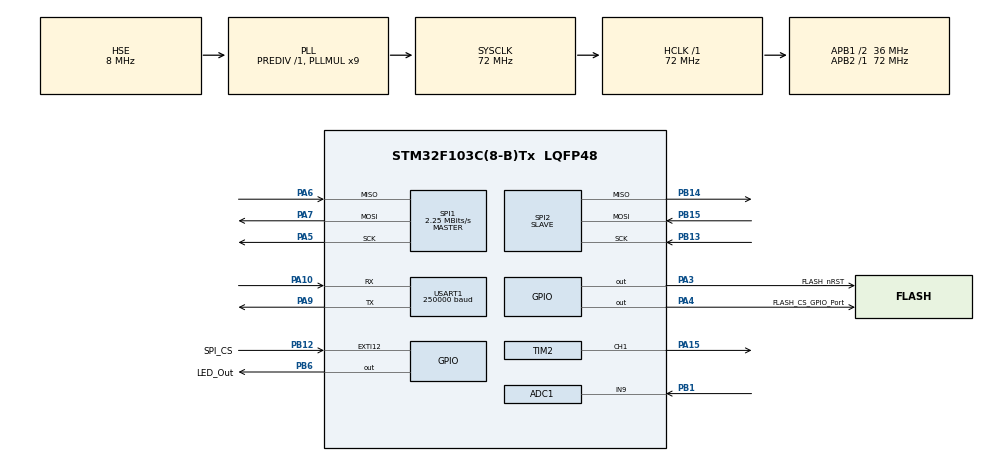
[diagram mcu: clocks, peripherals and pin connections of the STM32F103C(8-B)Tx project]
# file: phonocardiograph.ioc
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ADC1.Channel-0\#ChannelRegularConversion=ADC_CHANNEL_9
ADC1.ExternalTrigConv=ADC_EXTERNALTRIGCONV_T3_TRGO
ADC1.NbrOfConversionFlag=1
ADC1.Rank-0\#ChannelRegularConversion=1
ADC1.SamplingTime-0\#ChannelRegularConversion=ADC_SAMPLETIME_1CYCLE_5
ADC1.master=1
Mcu.Family=STM32F1
Mcu.Name=STM32F103C(8-B)Tx
Mcu.Package=LQFP48
NVIC.ADC1_2_IRQn=true\:2\:0\:true\:false\:true\:true\:true\:true
NVIC.EXTI15_10_IRQn=true\:1\:0\:true\:false\:true\:true\:true\:true
NVIC.PriorityGroup=NVIC_PRIORITYGROUP_4
NVIC.SPI2_IRQn=true\:1\:0\:true\:false\:true\:true\:true\:true
NVIC.TIM1_UP_IRQn=true\:3\:0\:true\:false\:true\:true\:true\:true
NVIC.TIM3_IRQn=true\:2\:0\:true\:false\:true\:true\:true\:true
NVIC.TIM4_IRQn=true\:3\:0\:true\:false\:true\:true\:true\:true
NVIC.USART1_IRQn=true\:1\:0\:true\:false\:true\:true\:true\:true
PA10.Mode=Asynchronous
PA10.Signal=USART1_RX
PA13.Mode=Serial_Wire
PA13.Signal=SYS_JTMS-SWDIO
PA14.Mode=Serial_Wire
PA14.Signal=SYS_JTCK-SWCLK
PA15.Signal=S_TIM2_CH1_ETR
PA3.GPIO_Label=FLASH_nRST
PA3.Signal=GPIO_Output
PA4.GPIO_Label=FLASH_CS_GPIO_Port
PA4.Signal=GPIO_Output
PA5.Mode=Full_Duplex_Master
PA5.Signal=SPI1_SCK
PA6.Mode=Full_Duplex_Master
PA6.Signal=SPI1_MISO
PA7.Mode=Full_Duplex_Master
PA7.Signal=SPI1_MOSI
PA9.Mode=Asynchronous
PA9.Signal=USART1_TX
PB1.Signal=ADCx_IN9
PB12.GPIO_Label=SPI_CS
PB12.GPIO_ModeDefaultEXTI=GPIO_MODE_IT_RISING_FALLING
PB12.Signal=GPXTI12
PB13.Mode=Full_Duplex_Slave
PB13.Signal=SPI2_SCK
PB14.Mode=Full_Duplex_Slave
PB14.Signal=SPI2_MISO
PB15.Mode=Full_Duplex_Slave
PB15.Signal=SPI2_MOSI
PB6.GPIO_Label=LED_Out
PB6.Signal=GPIO_Output
PD0-OSC_IN.Mode=HSE-External-Oscillator
PD0-OSC_IN.Signal=RCC_OSC_IN
PD1-OSC_OUT.Mode=HSE-External-Oscillator
PD1-OSC_OUT.Signal=RCC_OSC_OUT
ProjectManager.HeapSize=0x200
ProjectManager.StackSize=0x400
ProjectManager.TargetToolchain=STM32CubeIDE
RCC.ADCPresc=RCC_ADCPCLK2_DIV6
RCC.AHBFreq_Value=72000000
RCC.APB1CLKDivider=RCC_HCLK_DIV2
RCC.APB1Freq_Value=36000000
RCC.APB1TimFreq_Value=72000000
RCC.APB2Freq_Value=72000000
RCC.APB2TimFreq_Value=72000000
RCC.HCLKFreq_Value=72000000
RCC.PLLMUL=RCC_PLL_MUL9
RCC.PLLSourceVirtual=RCC_PLLSOURCE_HSE
RCC.SYSCLKFreq_VALUE=72000000
RCC.SYSCLKSource=RCC_SYSCLKSOURCE_PLLCLK
RCC.USBFreq_Value=72000000
SH.ADCx_IN9.0=ADC1_IN9,IN9
SH.S_TIM2_CH1_ETR.0=TIM2_CH1,PWM Generation1 CH1
SPI1.BaudRatePrescaler=SPI_BAUDRATEPRESCALER_32
SPI1.CLKPhase=SPI_PHASE_1EDGE
SPI1.CalculateBaudRate=2.25 MBits/s
SPI1.Direction=SPI_DIRECTION_2LINES
SPI1.Mode=SPI_MODE_MASTER
SPI1.VirtualType=VM_MASTER
SPI2.Direction=SPI_DIRECTION_2LINES
SPI2.Mode=SPI_MODE_SLAVE
SPI2.VirtualType=VM_SLAVE
TIM1.Period=9
TIM1.Prescaler=7199
TIM2.Channel-PWM\ Generation1\ CH1=TIM_CHANNEL_1
TIM2.OCPolarity_1=TIM_OCPOLARITY_LOW
TIM2.Period=501
TIM2.Prescaler=72
TIM2.Pulse-PWM\ Generation1\ CH1=1
TIM3.Period=3999
TIM3.Prescaler=72
TIM3.TIM_MasterOutputTrigger=TIM_TRGO_OC1
TIM4.Period=999
TIM4.Prescaler=65535
USART1.BaudRate=250000
USART1.VirtualMode=VM_ASYNC
VP_TIM1_VS_ClockSourceINT.Mode=Internal
VP_TIM2_VS_ClockSourceINT.Mode=Internal
VP_TIM2_VS_OPM.Mode=OPM_bit
VP_TIM3_VS_ClockSourceINT.Mode=Internal
VP_TIM4_VS_ClockSourceINT.Mode=Internal
board=custom

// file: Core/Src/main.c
/* USER CODE BEGIN Header */
/**
  ******************************************************************************
  * @file           : main.c
  * @brief          : Main program body
  ******************************************************************************
  * @attention
  *
  * Copyright (c) 2026 STMicroelectronics.
  * All rights reserved.
  *
  * This software is licensed under terms that can be found in the LICENSE file
  * in the root directory of this software component.
  * If no LICENSE file comes with this software, it is provided AS-IS.
  *
  ******************************************************************************
  */
/* USER CODE END Header */
#include "main.h"

/* USER CODE BEGIN Includes */
#include <stdio.h>
#include <string.h>
#include "w25q_spi.h"
#include "SPI_connection.h"
#include "protocol_parser.h"
#include "exp_protocol.h"
/* USER CODE END Includes */

ADC_HandleTypeDef hadc1;

SPI_HandleTypeDef hspi1;
SPI_HandleTypeDef hspi2;

TIM_HandleTypeDef htim1;
TIM_HandleTypeDef htim2;
TIM_HandleTypeDef htim3;
TIM_HandleTypeDef htim4;

UART_HandleTypeDef huart1;

/* USER CODE BEGIN PV */
extern w25_info_t  w25_info;
uint8_t rx_buf[1025];
uint8_t tx_buf[10];
extern volatile uint16_t ADC_data;
volatile char need_save = 0; // 0-idle, 1-save data
volatile char new_conv = 0; //new ADC conversion done
volatile uint32_t buf_ptr = 0, page_ptr = 0;
uint8_t res_buf[256] = {0};
uint8_t data_buf[256];
bool write_cycle_closed = 0;
bool reach_end_of_flash = 0;
volatile uint16_t ADC_data_safe[10];
uint16_t ADC_data_safe_1;

bool need_to_send = false;
/* USER CODE END PV */

void SystemClock_Config(void);
static void MX_GPIO_Init(void);
static void MX_SPI2_Init(void);
static void MX_USART1_UART_Init(void);
static void MX_SPI1_Init(void);
static void MX_TIM3_Init(void);
static void MX_ADC1_Init(void);
static void MX_TIM2_Init(void);
static void MX_TIM1_Init(void);
static void MX_TIM4_Init(void);

/* USER CODE BEGIN 0 */
volatile uint8_t dt1[10];
/* USER CODE END 0 */

int main(void)
{
  /* USER CODE BEGIN 1 */
	  //char uart_mode = 0;
  /* USER CODE END 1 */

  /* MCU Configuration--------------------------------------------------------*/

  /* Reset of all peripherals, Initializes the Flash interface and the Systick. */
  HAL_Init();

  /* Configure the system clock */
  SystemClock_Config();

  /* Initialize all configured peripherals */
  MX_GPIO_Init();
  MX_SPI2_Init();
  MX_USART1_UART_Init();
  MX_SPI1_Init();
  MX_TIM3_Init();
  MX_ADC1_Init();
  MX_TIM2_Init();
  MX_TIM1_Init();
  MX_TIM4_Init();
  /* USER CODE BEGIN 2 */

  HAL_ADC_Start_IT(&hadc1);

  uart_init();

  /* USER CODE END 2 */

  /* Infinite loop */
  /* USER CODE BEGIN WHILE */
  dt1[0] = 0; //no command present
  dt1[2] = 0x30; //mem is free
  //HAL_UART_Receive_IT(&huart1,(uint8_t*)dt1,1);  //wait for cmd
  while (1)
  {

	if (uart1_rx_complete) {
		parser_exp();
	}

	if (need_to_send) {
		need_to_send = false;
		send_data(ADC_data_safe_1);
	}

	  //ADC_conv done
/*
   if ((need_save) && (new_conv == 1)) //measure ongoing and new conversion recieved from ADC
   {
	 static union
	 {
	   uint16_t word;
	   uint8_t bytes[2];
	 } result_data;

	 new_conv = 0; //reset flag
	 result_data.word = ADC_data;
	 res_buf[buf_ptr] = result_data.bytes[0];
	 res_buf[buf_ptr+1] = result_data.bytes[1];
	 buf_ptr += 2;
	 if (buf_ptr > 255) //buf is full, need to save
	 {
	   HAL_GPIO_TogglePin(GPIOB, GPIO_PIN_6);
	   if (uart_mode) //send data to UART only (debug)
	   {
		 buf_ptr = 0;
		 HAL_UART_Transmit(&huart1, res_buf, 256, 100);
	   }
	   else //save to flash memory
	   {
		 if (page_ptr < w25_info.PageCount) //flash mem isn't full
		 {
			 W25_Write_Page(res_buf, page_ptr, 0, 256); //save 256 bytes to flash
			 buf_ptr = 0;
			 page_ptr++;
		 }
		 else
		 {
			 write_cycle_closed = 1;
			 need_save = 0;
			 dt1[2] = 0x31; //mem is full
		 }
	   }
	 }

   }

	// проверка на то, что флеш-память была считана до конца и был отправлен последний кадр данных
	if (reach_end_of_flash && !response_ready) {
		// сброс признака чтения конца флеш-памяти
		reach_end_of_flash = 0;

		// сохранение последнего внутреннего состояния датчика
		setLastFSMProtocolState(getFSMProtocolState());
		// переход в состояние сброса флеш-памяти
		setFSMProtocolState(RESET_FLASH_STATE);

		// сброс указателя номера записываемой страницы флеш
		page_ptr = 0;

		// очистка флеш-памяти
		HAL_GPIO_WritePin(GPIOB, GPIO_PIN_6, GPIO_PIN_RESET);
		W25_Erase_Chip();

		// установка признака окончания стирания флеш-памяти (флаг проверяется в состоянии RESET_FLASH_STATE)
		reset_ready = 1;
	} */

    /* USER CODE END WHILE */

  }
}

void SystemClock_Config(void)
{
  RCC_OscInitTypeDef RCC_OscInitStruct = {0};
  RCC_ClkInitTypeDef RCC_ClkInitStruct = {0};
  RCC_PeriphCLKInitTypeDef PeriphClkInit = {0};

  /** Initializes the RCC Oscillators according to the specified parameters
  * in the RCC_OscInitTypeDef structure.
  */
  RCC_OscInitStruct.OscillatorType = RCC_OSCILLATORTYPE_HSE;
  RCC_OscInitStruct.HSEState = RCC_HSE_ON;
  RCC_OscInitStruct.HSEPredivValue = RCC_HSE_PREDIV_DIV1;
  RCC_OscInitStruct.HSIState = RCC_HSI_ON;
  RCC_OscInitStruct.PLL.PLLState = RCC_PLL_ON;
  RCC_OscInitStruct.PLL.PLLSource = RCC_PLLSOURCE_HSE;
  RCC_OscInitStruct.PLL.PLLMUL = RCC_PLL_MUL9;
  if (HAL_RCC_OscConfig(&RCC_OscInitStruct) != HAL_OK)
  {
    Error_Handler();
  }

  /** Initializes the CPU, AHB and APB buses clocks
  */
  RCC_ClkInitStruct.ClockType = RCC_CLOCKTYPE_HCLK|RCC_CLOCKTYPE_SYSCLK
                              |RCC_CLOCKTYPE_PCLK1|RCC_CLOCKTYPE_PCLK2;
  RCC_ClkInitStruct.SYSCLKSource = RCC_SYSCLKSOURCE_PLLCLK;
  RCC_ClkInitStruct.AHBCLKDivider = RCC_SYSCLK_DIV1;
  RCC_ClkInitStruct.APB1CLKDivider = RCC_HCLK_DIV2;
  RCC_ClkInitStruct.APB2CLKDivider = RCC_HCLK_DIV1;

  if (HAL_RCC_ClockConfig(&RCC_ClkInitStruct, FLASH_LATENCY_2) != HAL_OK)
  {
    Error_Handler();
  }
  PeriphClkInit.PeriphClockSelection = RCC_PERIPHCLK_ADC;
  PeriphClkInit.AdcClockSelection = RCC_ADCPCLK2_DIV6;
  if (HAL_RCCEx_PeriphCLKConfig(&PeriphClkInit) != HAL_OK)
  {
    Error_Handler();
  }
}

static void MX_ADC1_Init(void)
{

  ADC_ChannelConfTypeDef sConfig = {0};

  /** Common config
  */
  hadc1.Instance = ADC1;
  hadc1.Init.ScanConvMode = ADC_SCAN_DISABLE;
  hadc1.Init.ContinuousConvMode = DISABLE;
  hadc1.Init.DiscontinuousConvMode = DISABLE;
  hadc1.Init.ExternalTrigConv = ADC_EXTERNALTRIGCONV_T3_TRGO;
  hadc1.Init.DataAlign = ADC_DATAALIGN_RIGHT;
  hadc1.Init.NbrOfConversion = 1;
  if (HAL_ADC_Init(&hadc1) != HAL_OK)
  {
    Error_Handler();
  }

  /** Configure Regular Channel
  */
  sConfig.Channel = ADC_CHANNEL_9;
  sConfig.Rank = ADC_REGULAR_RANK_1;
  sConfig.SamplingTime = ADC_SAMPLETIME_1CYCLE_5;
  if (HAL_ADC_ConfigChannel(&hadc1, &sConfig) != HAL_OK)
  {
    Error_Handler();
  }

}

static void MX_SPI1_Init(void)
{

  /* SPI1 parameter configuration*/
  hspi1.Instance = SPI1;
  hspi1.Init.Mode = SPI_MODE_MASTER;
  hspi1.Init.Direction = SPI_DIRECTION_2LINES;
  hspi1.Init.DataSize = SPI_DATASIZE_8BIT;
  hspi1.Init.CLKPolarity = SPI_POLARITY_LOW;
  hspi1.Init.CLKPhase = SPI_PHASE_1EDGE;
  hspi1.Init.NSS = SPI_NSS_SOFT;
  hspi1.Init.BaudRatePrescaler = SPI_BAUDRATEPRESCALER_32;
  hspi1.Init.FirstBit = SPI_FIRSTBIT_MSB;
  hspi1.Init.TIMode = SPI_TIMODE_DISABLE;
  hspi1.Init.CRCCalculation = SPI_CRCCALCULATION_DISABLE;
  hspi1.Init.CRCPolynomial = 10;
  if (HAL_SPI_Init(&hspi1) != HAL_OK)
  {
    Error_Handler();
  }

}

static void MX_SPI2_Init(void)
{

  /* SPI2 parameter configuration*/
  hspi2.Instance = SPI2;
  hspi2.Init.Mode = SPI_MODE_SLAVE;
  hspi2.Init.Direction = SPI_DIRECTION_2LINES;
  hspi2.Init.DataSize = SPI_DATASIZE_8BIT;
  hspi2.Init.CLKPolarity = SPI_POLARITY_LOW;
  hspi2.Init.CLKPhase = SPI_PHASE_1EDGE;
  hspi2.Init.NSS = SPI_NSS_SOFT;
  hspi2.Init.FirstBit = SPI_FIRSTBIT_MSB;
  hspi2.Init.TIMode = SPI_TIMODE_DISABLE;
  hspi2.Init.CRCCalculation = SPI_CRCCALCULATION_DISABLE;
  hspi2.Init.CRCPolynomial = 10;
  if (HAL_SPI_Init(&hspi2) != HAL_OK)
  {
    Error_Handler();
  }
  /* USER CODE BEGIN SPI2_Init 2 */
  __HAL_SPI_ENABLE_IT(&hspi2, SPI_IT_ERR);
  /* USER CODE END SPI2_Init 2 */

}

static void MX_TIM1_Init(void)
{

  TIM_ClockConfigTypeDef sClockSourceConfig = {0};
  TIM_MasterConfigTypeDef sMasterConfig = {0};

  htim1.Instance = TIM1;
  htim1.Init.Prescaler = 7199;
  htim1.Init.CounterMode = TIM_COUNTERMODE_UP;
  htim1.Init.Period = 9;
  htim1.Init.ClockDivision = TIM_CLOCKDIVISION_DIV1;
  htim1.Init.RepetitionCounter = 0;
  htim1.Init.AutoReloadPreload = TIM_AUTORELOAD_PRELOAD_DISABLE;
  if (HAL_TIM_Base_Init(&htim1) != HAL_OK)
  {
    Error_Handler();
  }
  sClockSourceConfig.ClockSource = TIM_CLOCKSOURCE_INTERNAL;
  if (HAL_TIM_ConfigClockSource(&htim1, &sClockSourceConfig) != HAL_OK)
  {
    Error_Handler();
  }
  sMasterConfig.MasterOutputTrigger = TIM_TRGO_RESET;
  sMasterConfig.MasterSlaveMode = TIM_MASTERSLAVEMODE_DISABLE;
  if (HAL_TIMEx_MasterConfigSynchronization(&htim1, &sMasterConfig) != HAL_OK)
  {
    Error_Handler();
  }

}

static void MX_TIM2_Init(void)
{

  TIM_ClockConfigTypeDef sClockSourceConfig = {0};
  TIM_MasterConfigTypeDef sMasterConfig = {0};
  TIM_OC_InitTypeDef sConfigOC = {0};

  htim2.Instance = TIM2;
  htim2.Init.Prescaler = 72;
  htim2.Init.CounterMode = TIM_COUNTERMODE_UP;
  htim2.Init.Period = 501;
  htim2.Init.ClockDivision = TIM_CLOCKDIVISION_DIV1;
  htim2.Init.AutoReloadPreload = TIM_AUTORELOAD_PRELOAD_DISABLE;
  if (HAL_TIM_Base_Init(&htim2) != HAL_OK)
  {
    Error_Handler();
  }
  sClockSourceConfig.ClockSource = TIM_CLOCKSOURCE_INTERNAL;
  if (HAL_TIM_ConfigClockSource(&htim2, &sClockSourceConfig) != HAL_OK)
  {
    Error_Handler();
  }
  if (HAL_TIM_PWM_Init(&htim2) != HAL_OK)
  {
    Error_Handler();
  }
  if (HAL_TIM_OnePulse_Init(&htim2, TIM_OPMODE_SINGLE) != HAL_OK)
  {
    Error_Handler();
  }
  sMasterConfig.MasterOutputTrigger = TIM_TRGO_RESET;
  sMasterConfig.MasterSlaveMode = TIM_MASTERSLAVEMODE_DISABLE;
  if (HAL_TIMEx_MasterConfigSynchronization(&htim2, &sMasterConfig) != HAL_OK)
  {
    Error_Handler();
  }
  sConfigOC.OCMode = TIM_OCMODE_PWM1;
  sConfigOC.Pulse = 1;
  sConfigOC.OCPolarity = TIM_OCPOLARITY_LOW;
  sConfigOC.OCFastMode = TIM_OCFAST_DISABLE;
  if (HAL_TIM_PWM_ConfigChannel(&htim2, &sConfigOC, TIM_CHANNEL_1) != HAL_OK)
  {
    Error_Handler();
  }
  HAL_TIM_MspPostInit(&htim2);

}

static void MX_TIM3_Init(void)
{

  TIM_ClockConfigTypeDef sClockSourceConfig = {0};
  TIM_MasterConfigTypeDef sMasterConfig = {0};

  htim3.Instance = TIM3;
  htim3.Init.Prescaler = 72;
  htim3.Init.CounterMode = TIM_COUNTERMODE_UP;
  htim3.Init.Period = 3999;
  htim3.Init.ClockDivision = TIM_CLOCKDIVISION_DIV1;
  htim3.Init.AutoReloadPreload = TIM_AUTORELOAD_PRELOAD_DISABLE;
  if (HAL_TIM_Base_Init(&htim3) != HAL_OK)
  {
    Error_Handler();
  }
  sClockSourceConfig.ClockSource = TIM_CLOCKSOURCE_INTERNAL;
  if (HAL_TIM_ConfigClockSource(&htim3, &sClockSourceConfig) != HAL_OK)
  {
    Error_Handler();
  }
  sMasterConfig.MasterOutputTrigger = TIM_TRGO_OC1;
  sMasterConfig.MasterSlaveMode = TIM_MASTERSLAVEMODE_DISABLE;
  if (HAL_TIMEx_MasterConfigSynchronization(&htim3, &sMasterConfig) != HAL_OK)
  {
    Error_Handler();
  }

}

static void MX_TIM4_Init(void)
{

  TIM_ClockConfigTypeDef sClockSourceConfig = {0};
  TIM_MasterConfigTypeDef sMasterConfig = {0};

  htim4.Instance = TIM4;
  htim4.Init.Prescaler = 65535;
  htim4.Init.CounterMode = TIM_COUNTERMODE_UP;
  htim4.Init.Period = 999;
  htim4.Init.ClockDivision = TIM_CLOCKDIVISION_DIV1;
  htim4.Init.AutoReloadPreload = TIM_AUTORELOAD_PRELOAD_DISABLE;
  if (HAL_TIM_Base_Init(&htim4) != HAL_OK)
  {
    Error_Handler();
  }
  sClockSourceConfig.ClockSource = TIM_CLOCKSOURCE_INTERNAL;
  if (HAL_TIM_ConfigClockSource(&htim4, &sClockSourceConfig) != HAL_OK)
  {
    Error_Handler();
  }
  sMasterConfig.MasterOutputTrigger = TIM_TRGO_RESET;
  sMasterConfig.MasterSlaveMode = TIM_MASTERSLAVEMODE_DISABLE;
  if (HAL_TIMEx_MasterConfigSynchronization(&htim4, &sMasterConfig) != HAL_OK)
  {
    Error_Handler();
  }

}

static void MX_USART1_UART_Init(void)
{

  huart1.Instance = USART1;
  huart1.Init.BaudRate = 250000;
  huart1.Init.WordLength = UART_WORDLENGTH_8B;
  huart1.Init.StopBits = UART_STOPBITS_1;
  huart1.Init.Parity = UART_PARITY_NONE;
  huart1.Init.Mode = UART_MODE_TX_RX;
  huart1.Init.HwFlowCtl = UART_HWCONTROL_NONE;
  huart1.Init.OverSampling = UART_OVERSAMPLING_16;
  if (HAL_UART_Init(&huart1) != HAL_OK)
  {
    Error_Handler();
  }

}

static void MX_GPIO_Init(void)
{
  GPIO_InitTypeDef GPIO_InitStruct = {0};

  /* GPIO Ports Clock Enable */
  __HAL_RCC_GPIOD_CLK_ENABLE();
  __HAL_RCC_GPIOA_CLK_ENABLE();
  __HAL_RCC_GPIOB_CLK_ENABLE();

  /*Configure GPIO pin Output Level */
  HAL_GPIO_WritePin(GPIOA, FLASH_nRST_Pin|FLASH_CS_GPIO_Port_Pin, GPIO_PIN_RESET);

  /*Configure GPIO pin Output Level */
  HAL_GPIO_WritePin(LED_Out_GPIO_Port, LED_Out_Pin, GPIO_PIN_RESET);

  /*Configure GPIO pins : FLASH_nRST_Pin FLASH_CS_GPIO_Port_Pin */
  GPIO_InitStruct.Pin = FLASH_nRST_Pin|FLASH_CS_GPIO_Port_Pin;
  GPIO_InitStruct.Mode = GPIO_MODE_OUTPUT_PP;
  GPIO_InitStruct.Pull = GPIO_NOPULL;
  GPIO_InitStruct.Speed = GPIO_SPEED_FREQ_LOW;
  HAL_GPIO_Init(GPIOA, &GPIO_InitStruct);

  /*Configure GPIO pin : SPI_CS_Pin */
  GPIO_InitStruct.Pin = SPI_CS_Pin;
  GPIO_InitStruct.Mode = GPIO_MODE_IT_RISING_FALLING;
  GPIO_InitStruct.Pull = GPIO_NOPULL;
  HAL_GPIO_Init(SPI_CS_GPIO_Port, &GPIO_InitStruct);

  /*Configure GPIO pin : LED_Out_Pin */
  GPIO_InitStruct.Pin = LED_Out_Pin;
  GPIO_InitStruct.Mode = GPIO_MODE_OUTPUT_PP;
  GPIO_InitStruct.Pull = GPIO_NOPULL;
  GPIO_InitStruct.Speed = GPIO_SPEED_FREQ_LOW;
  HAL_GPIO_Init(LED_Out_GPIO_Port, &GPIO_InitStruct);

  /* EXTI interrupt init*/
  HAL_NVIC_SetPriority(EXTI15_10_IRQn, 1, 0);
  HAL_NVIC_EnableIRQ(EXTI15_10_IRQn);

}

void Error_Handler(void)
{
  __disable_irq();
  while (1)
  {
  }
}
